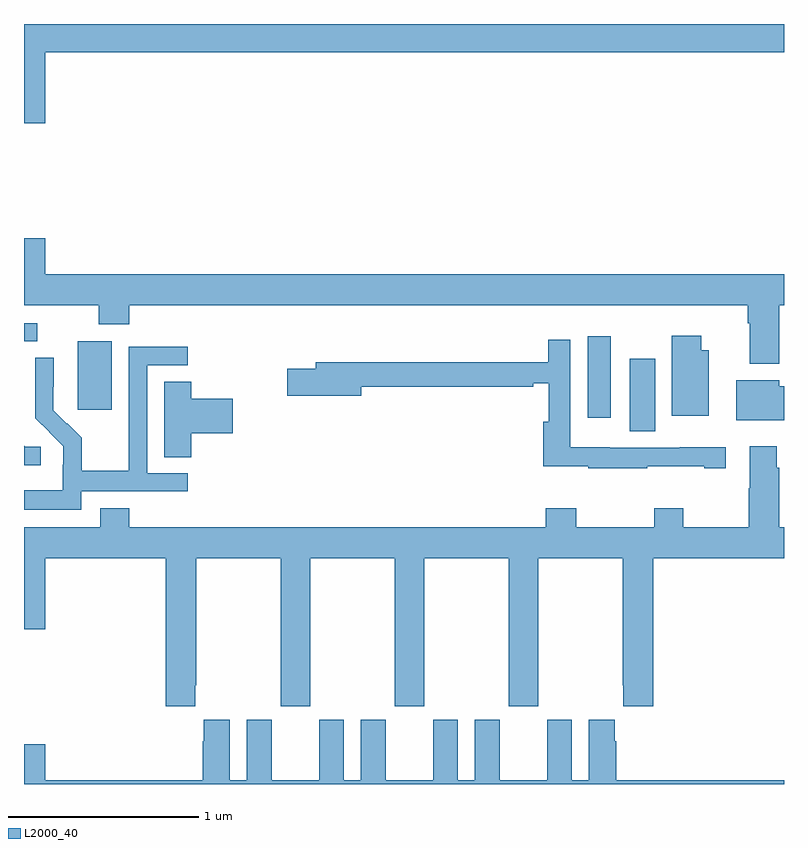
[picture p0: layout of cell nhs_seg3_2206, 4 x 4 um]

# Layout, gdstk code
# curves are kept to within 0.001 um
import gdstk
lib = gdstk.Library(unit=1e-6, precision=1e-09)
def R(c, l, rs):  # rectangles x0, y0, x1, y1
    for r in rs: c.add(gdstk.rectangle(r[:2], r[2:], *l))
def P(c, l, *ps):  # polygons
    for p in ps: c.add(gdstk.Polygon(p, *l))
L2000_40 = (2000, 40)

nhs_seg3_2206 = lib.new_cell('nhs_seg3_2206')
R(nhs_seg3_2206, L2000_40, [(228.188,696.256,228.322,696.637), (227.966,696.327,228.088,696.757), (225.284,696.369,225.463,696.73), (225,696.729,225.07,696.825)])
P(nhs_seg3_2206, L2000_40, [(225.112,698.252),(229,698.252),(229,698.4),(225,698.4),(225,697.878),(225.112,697.878)],
  [(228.974,696.92),(229,696.92),(229,697.084),(225.112,697.084),(225.112,697.273),(225,697.273),(225,696.92),(225.394,696.92),(225.394,696.821),(225.554,696.821),(225.554,696.92),(228.809,696.92),(228.809,696.824),(228.821,696.824),(228.821,696.611),(228.974,696.611)],
  [(228.604,696.682),(228.565,696.682),(228.565,696.76),(228.41,696.76),(228.41,696.338),(228.604,696.338)],
  [(228.281,696.073),(228.581,696.073),(228.581,696.063),(228.694,696.063),(228.694,696.172),(228.45,696.172),(228.45,696.171),(228.084,696.171),(228.084,696.172),(227.874,696.172),(227.874,696.739),(227.758,696.739),(227.758,696.619),(226.535,696.619),(226.535,696.585),(226.386,696.585),(226.386,696.443),(226.774,696.443),(226.774,696.49),(227.681,696.49),(227.681,696.509),(227.762,696.509),(227.762,696.307),(227.732,696.307),(227.732,696.073),(227.971,696.073),(227.971,696.063),(228.281,696.063)],
  [(225.3,695.94),(225.862,695.94),(225.862,696.036),(225.648,696.036),(225.648,696.603),(225.862,696.603),(225.862,696.702),(225.552,696.702),(225.552,696.272),(225.55,696.272),(225.55,696.049),(225.305,696.049),(225.305,696.223),(225.228,696.3),(225.225,696.297),(225.155,696.368),(225.156,696.644),(225.06,696.644),(225.06,696.326),(225.206,696.178),(225.206,696.081),(225.204,696.081),(225.204,695.947),(225,695.947),(225,695.843),(225.3,695.843)],
  [(229,696.493),(228.976,696.493),(228.976,696.526),(228.749,696.526),(228.749,696.314),(229,696.314)],
  [(225.881,696.245),(226.099,696.245),(226.099,696.428),(225.881,696.428),(225.881,696.518),(225.737,696.518),(225.737,696.121),(225.881,696.121)],
  [(225.088,696.174),(225.006,696.174),(225,696.18),(225,696.077),(225.088,696.077)],
  [(225.901,694.921),(225.906,694.921),(225.906,695.588),(226.351,695.588),(226.351,694.809),(226.506,694.809),(226.506,695.588),(226.951,695.588),(226.951,694.809),(227.106,694.809),(227.106,695.588),(227.551,695.588),(227.551,694.809),(227.706,694.809),(227.706,695.588),(228.151,695.588),(228.151,694.921),(228.155,694.921),(228.155,694.809),(228.311,694.809),(228.311,695.588),(229,695.588),(229,695.752),(228.974,695.752),(228.974,696.065),(228.961,696.065),(228.961,696.178),(228.821,696.178),(228.821,695.957),(228.814,695.957),(228.814,695.752),(228.471,695.752),(228.471,695.851),(228.316,695.851),(228.316,695.752),(227.907,695.752),(227.907,695.851),(227.747,695.851),(227.747,695.752),(225.554,695.752),(225.554,695.851),(225.401,695.851),(225.401,695.752),(225,695.752),(225,695.214),(225.112,695.214),(225.112,695.588),(225.746,695.588),(225.746,694.809),(225.901,694.809)],
  [(229,694.42),(228.116,694.42),(228.116,694.625),(228.109,694.625),(228.109,694.738),(227.972,694.738),(227.972,694.42),(227.884,694.42),(227.884,694.738),(227.753,694.738),(227.753,694.42),(227.503,694.42),(227.503,694.738),(227.372,694.738),(227.372,694.42),(227.284,694.42),(227.284,694.738),(227.153,694.738),(227.153,694.42),(226.903,694.42),(226.903,694.738),(226.772,694.738),(226.772,694.42),(226.684,694.42),(226.684,694.738),(226.553,694.738),(226.553,694.42),(226.303,694.42),(226.303,694.738),(226.172,694.738),(226.172,694.42),(226.084,694.42),(226.084,694.738),(225.947,694.738),(225.947,694.625),(225.941,694.625),(225.941,694.42),(225.112,694.42),(225.112,694.609),(225,694.609),(225,694.4),(229,694.4)])

lib.write_gds('nhs_seg3_2206.gds')
